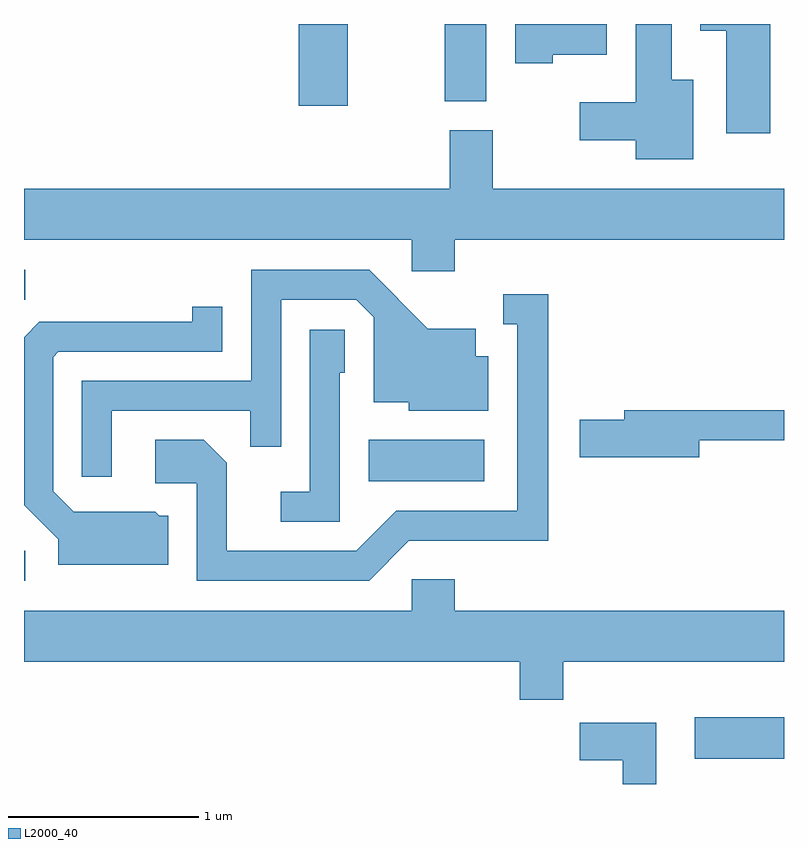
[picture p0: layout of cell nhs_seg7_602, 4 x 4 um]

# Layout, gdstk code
import gdstk
lib = gdstk.Library(unit=1e-6, precision=1e-09)
def R(c, l, rs):  # rectangles x0, y0, x1, y1
    for r in rs: c.add(gdstk.rectangle(r[:2], r[2:], *l))
def P(c, l, *ps):  # polygons
    for p in ps: c.add(gdstk.Polygon(p, *l))
L2000_40 = (2000, 40)

nhs_seg7_602 = lib.new_cell('nhs_seg7_602')
R(nhs_seg7_602, L2000_40, [(205.141,1800.386,205.611,1800.604), (201.611,1801.321,201.618,1801.479), (203.426,1801.846,204.034,1802.064), (201.611,1802.801,201.618,1802.959), (203.056,1803.821,203.314,1804.252), (203.826,1803.846,204.044,1804.252)])
P(nhs_seg7_602, L2000_40, [(205.134,1803.959),(205.019,1803.959),(205.019,1804.252),(204.831,1804.252),(204.831,1803.839),(204.536,1803.839),(204.536,1803.641),(204.831,1803.641),(204.831,1803.541),(205.134,1803.541)],
  [(205.539,1804.252),(205.171,1804.252),(205.171,1804.216),(205.306,1804.216),(205.306,1803.676),(205.539,1803.676)],
  [(204.394,1804.091),(204.679,1804.091),(204.679,1804.252),(204.196,1804.252),(204.196,1804.046),(204.394,1804.046)],
  [(203.879,1803.116),(205.611,1803.116),(205.611,1803.384),(204.079,1803.384),(204.079,1803.694),(203.851,1803.694),(203.851,1803.384),(201.611,1803.384),(201.611,1803.116),(203.651,1803.116),(203.651,1802.951),(203.879,1802.951)],
  [(202.074,1802.216),(202.801,1802.216),(202.801,1802.028),(202.964,1802.028),(202.964,1802.801),(203.359,1802.801),(203.451,1802.709),(203.451,1802.261),(203.636,1802.261),(203.636,1802.216),(204.054,1802.216),(204.054,1802.504),(203.989,1802.504),(203.989,1802.649),(203.737,1802.649),(203.427,1802.959),(202.806,1802.959),(202.806,1802.374),(201.916,1802.374),(201.916,1801.868),(202.074,1801.868)],
  [(203.637,1801.531),(204.369,1801.531),(204.369,1802.829),(204.133,1802.829),(204.133,1802.671),(204.206,1802.671),(204.206,1801.689),(203.569,1801.689),(203.359,1801.479),(202.679,1801.479),(202.679,1801.942),(202.557,1802.064),(202.301,1802.064),(202.301,1801.836),(202.521,1801.836),(202.521,1801.321),(203.427,1801.321)],
  [(202.369,1801.664),(202.322,1801.664),(202.302,1801.684),(201.872,1801.684),(201.764,1801.792),(201.764,1802.499),(201.792,1802.526),(202.654,1802.526),(202.654,1802.763),(202.496,1802.763),(202.496,1802.684),(201.692,1802.684),(201.611,1802.604),(201.611,1801.719),(201.791,1801.539),(201.791,1801.406),(202.369,1801.406)],
  [(203.274,1802.416),(203.299,1802.416),(203.299,1802.644),(203.116,1802.644),(203.116,1801.789),(202.963,1801.789),(202.963,1801.631),(203.274,1801.631)],
  [(205.164,1802.061),(205.611,1802.061),(205.611,1802.219),(204.771,1802.219),(204.771,1802.169),(204.536,1802.169),(204.536,1801.971),(205.164,1801.971)],
  [(204.449,1800.896),(205.611,1800.896),(205.611,1801.164),(203.879,1801.164),(203.879,1801.329),(203.651,1801.329),(203.651,1801.164),(201.611,1801.164),(201.611,1800.896),(204.221,1800.896),(204.221,1800.696),(204.449,1800.696)],
  [(204.939,1800.574),(204.536,1800.574),(204.536,1800.376),(204.761,1800.376),(204.761,1800.252),(204.939,1800.252)])

lib.write_gds('nhs_seg7_602.gds')
